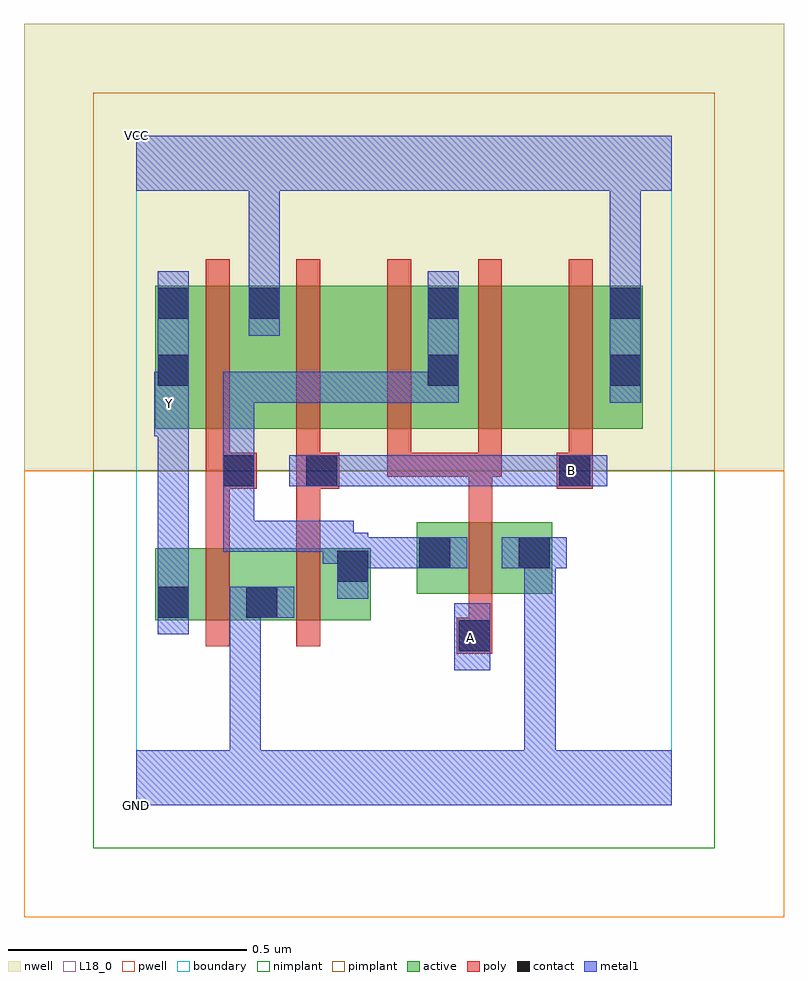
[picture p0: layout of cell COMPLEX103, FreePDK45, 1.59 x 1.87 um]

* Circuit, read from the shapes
.subckt COMPLEX103 A B GND VCC Y
M1 GND n1 Y VSUBS nfet w=0.15u l=0.05u
M2 n1 B GND VSUBS nfet w=0.15u l=0.05u
M3 GND A n1 VSUBS nfet w=0.15u l=0.05u
M4 VCC n1 Y n2 pfet w=0.3u l=0.05u
M5 n3 B VCC n2 pfet w=0.3u l=0.05u
M6 n1 A n3 n2 pfet w=0.3u l=0.05u
M7 n4 A n1 n2 pfet w=0.3u l=0.05u
M8 VCC B n4 n2 pfet w=0.3u l=0.05u
.ends

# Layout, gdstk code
import gdstk
lib = gdstk.Library(unit=1e-6, precision=1e-09)
def R(c, l, rs):  # rectangles x0, y0, x1, y1
    for r in rs: c.add(gdstk.rectangle(r[:2], r[2:], *l))
def A(c, l, x, y, w, h, nx, ny, dx, dy):  # array of equal rectangles
    R(c, l, [(x+i*dx, y+j*dy, x+i*dx+w, y+j*dy+h) for i in range(nx) for j in range(ny)])
active = (1, 0)
pwell = (2, 0)
nwell = (3, 0)
nimplant = (4, 0)
pimplant = (5, 0)
poly = (9, 0)
contact = (10, 0)
metal1 = (11, 0)
L18_0 = (18, 0)
boundary = (235, 0)

complex103 = lib.new_cell('COMPLEX103')
R(complex103, active, [(0.04,0.387,0.115,0.537), (0.04,0.387,0.3,0.537), (0.225,0.387,0.49,0.537), (0.225,0.387,0.3,0.462), (0.415,0.387,0.49,0.537), (0.587,0.442,0.87,0.592), (0.587,0.49,0.662,0.592), (0.795,0.49,0.87,0.592), (0.04,0.787,0.115,1.087), (0.04,0.787,0.305,1.087), (0.23,0.787,0.305,1.087), (0.23,0.787,0.455,1.087), (0.455,0.787,0.68,1.087), (0.605,0.787,0.68,1.087), (0.605,0.787,0.835,1.087), (0.835,0.787,1.06,1.087), (0.985,0.787,1.06,1.087)])
R(complex103, pwell, [(-0.235,-0.235,1.355,0.7)])
R(complex103, nwell, [(-0.235,0.7,1.355,1.635)])
R(complex103, nimplant, [(-0.09,-0.09,1.21,0.7)])
R(complex103, pimplant, [(-0.09,0.7,1.21,1.49)])
A(complex103, poly, 0.145, 0.687, 0.05, 0.095, 5, 1, 0.19, 0)
A(complex103, poly, 0.145, 0.732, 0.05, 0.41, 5, 1, 0.19, 0)
R(complex103, poly, [(0.67,0.317,0.745,0.392), (0.145,0.332,0.195,0.592), (0.335,0.332,0.385,0.592), (0.695,0.342,0.745,0.437), (0.695,0.387,0.745,0.647), (0.145,0.542,0.195,0.712), (0.335,0.542,0.385,0.712), (0.695,0.597,0.745,0.737), (0.145,0.662,0.252,0.737), (0.335,0.662,0.425,0.737), (0.88,0.662,0.955,0.737), (0.525,0.687,0.745,0.737), (0.525,0.687,0.575,0.737), (0.525,0.687,0.575,0.737), (0.525,0.687,0.575,0.737), (0.695,0.687,0.765,0.737)])
R(complex103, contact, [(0.675,0.322,0.74,0.387), (0.045,0.392,0.11,0.457), (0.23,0.392,0.295,0.457), (0.42,0.467,0.485,0.532), (0.592,0.495,0.657,0.56), (0.8,0.495,0.865,0.56), (0.182,0.667,0.247,0.732), (0.355,0.667,0.42,0.732), (0.885,0.667,0.95,0.732), (0.045,0.877,0.11,0.942), (0.61,0.877,0.675,0.942), (0.99,0.877,1.055,0.942), (0.045,1.017,0.11,1.082), (0.235,1.017,0.3,1.082), (0.61,1.017,0.675,1.082), (0.99,1.017,1.055,1.082)])
R(complex103, metal1, [(0,0,1.12,0.115), (0.195,0.05,0.26,0.115), (0.195,0.05,0.26,0.115), (0.195,0.05,0.26,0.115), (0.195,0.05,0.26,0.115), (0.195,0.05,0.26,0.115), (0.195,0.05,0.26,0.115), (0.195,0.05,0.26,0.457), (0.812,0.05,0.877,0.115), (0.812,0.05,0.877,0.115), (0.812,0.05,0.877,0.115), (0.812,0.05,0.877,0.115), (0.812,0.05,0.877,0.115), (0.812,0.05,0.877,0.115), (0.812,0.05,0.877,0.56), (0.665,0.282,0.74,0.422), (0.045,0.357,0.11,0.492), (0.195,0.392,0.33,0.457), (0.045,0.427,0.11,0.837), (0.42,0.432,0.485,0.57), (0.42,0.495,0.592,0.56), (0.527,0.495,0.592,0.56), (0.527,0.495,0.622,0.56), (0.557,0.495,0.692,0.56), (0.765,0.495,0.9,0.56), (0.39,0.505,0.485,0.57), (0.39,0.505,0.455,0.595), (0.182,0.53,0.247,0.595), (0.182,0.53,0.455,0.595), (0.182,0.53,0.247,0.697), (0.182,0.632,0.247,0.697), (0.182,0.632,0.247,0.697), (0.182,0.632,0.247,0.907), (0.182,0.632,0.247,0.767), (0.32,0.667,0.455,0.732), (0.39,0.667,0.455,0.732), (0.39,0.667,0.455,0.732), (0.39,0.667,0.592,0.732), (0.527,0.667,0.592,0.732), (0.527,0.667,0.692,0.732), (0.627,0.667,0.692,0.732), (0.627,0.667,0.73,0.732), (0.665,0.667,0.73,0.732), (0.665,0.667,0.907,0.732), (0.842,0.667,0.907,0.732), (0.842,0.667,0.907,0.732), (0.842,0.667,0.985,0.732), (0.037,0.772,0.11,0.907), (0.045,0.842,0.11,0.907), (0.045,0.842,0.11,1.117), (0.182,0.842,0.247,0.907), (0.182,0.842,0.385,0.907), (0.32,0.842,0.385,0.907), (0.32,0.842,0.385,0.907), (0.32,0.842,0.385,0.907), (0.32,0.842,0.592,0.907), (0.527,0.842,0.592,0.907), (0.527,0.842,0.675,0.907), (0.61,0.842,0.675,1.117), (0.99,0.842,1.055,1.117), (0.235,0.982,0.3,1.117), (0.235,1.052,0.3,1.35), (0.99,1.052,1.055,1.35), (0,1.285,1.12,1.4), (0.235,1.285,0.3,1.35), (0.235,1.285,0.3,1.35), (0.99,1.285,1.055,1.35), (0.99,1.285,1.055,1.35)])
R(complex103, L18_0, [(0,0,1.12,0.115), (0.195,0.05,0.26,0.115), (0.195,0.05,0.26,0.115), (0.195,0.05,0.26,0.115), (0.195,0.05,0.26,0.115), (0.195,0.05,0.26,0.115), (0.195,0.05,0.26,0.115), (0.195,0.05,0.26,0.457), (0.812,0.05,0.877,0.115), (0.812,0.05,0.877,0.115), (0.812,0.05,0.877,0.115), (0.812,0.05,0.877,0.115), (0.812,0.05,0.877,0.115), (0.812,0.05,0.877,0.115), (0.812,0.05,0.877,0.56), (0.665,0.282,0.74,0.422), (0.667,0.317,0.732,0.382), (0.045,0.357,0.11,0.492), (0.195,0.392,0.33,0.457), (0.045,0.427,0.11,0.837), (0.765,0.495,0.9,0.56), (0.32,0.667,0.455,0.732), (0.39,0.667,0.455,0.732), (0.39,0.667,0.455,0.732), (0.39,0.667,0.592,0.732), (0.527,0.667,0.592,0.732), (0.527,0.667,0.692,0.732), (0.627,0.667,0.692,0.732), (0.627,0.667,0.73,0.732), (0.665,0.667,0.73,0.732), (0.665,0.667,0.907,0.732), (0.842,0.667,0.907,0.732), (0.842,0.667,0.907,0.732), (0.842,0.667,0.985,0.732), (0.877,0.667,0.942,0.732), (0.037,0.772,0.11,0.907), (0.037,0.807,0.102,0.872), (0.045,0.842,0.11,1.117), (0.045,0.842,0.11,0.907), (0.99,0.842,1.055,1.117), (0.235,0.982,0.3,1.117), (0.235,1.052,0.3,1.35), (0.99,1.052,1.055,1.35), (0,1.285,1.12,1.4), (0.235,1.285,0.3,1.35), (0.235,1.285,0.3,1.35), (0.99,1.285,1.055,1.35), (0.99,1.285,1.055,1.35)])
R(complex103, boundary, [(0,0,1.12,1.4)])
complex103.add(gdstk.Label('A', (0.7,0.35), layer=11, texttype=0))
complex103.add(gdstk.Label('B', (0.91,0.7), layer=11, texttype=0))
complex103.add(gdstk.Label('Y', (0.07,0.84), layer=11, texttype=0))
complex103.add(gdstk.Label('VCC', (0,1.4), layer=11, texttype=0))
complex103.add(gdstk.Label('GND', (0,0), layer=11, texttype=0))

lib.write_gds('COMPLEX103.gds')
